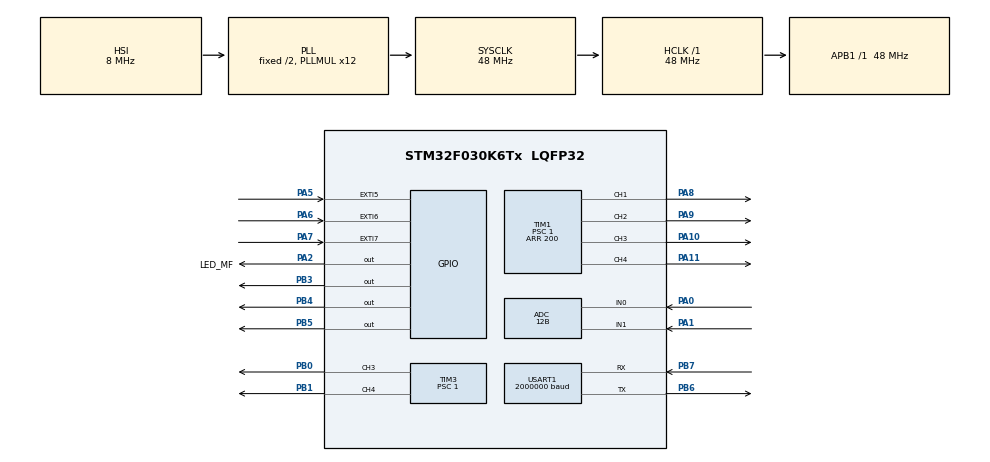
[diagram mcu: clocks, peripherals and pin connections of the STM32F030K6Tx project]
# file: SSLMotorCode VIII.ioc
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ADC.ClockPrescaler=ADC_CLOCK_ASYNC_DIV1
ADC.ContinuousConvMode=DISABLE
ADC.DMAContinuousRequests=DISABLE
ADC.DataAlign=ADC_DATAALIGN_RIGHT
ADC.DiscontinuousConvMode=DISABLE
ADC.EOCSelection=ADC_EOC_SINGLE_CONV
ADC.EnableAnalogWatchDog=false
ADC.ExternalTrigConv=ADC_SOFTWARE_START
ADC.ExternalTrigConvEdge=ADC_EXTERNALTRIGCONVEDGE_NONE
ADC.LowPowerAutoPowerOff=DISABLE
ADC.LowPowerAutoWait=DISABLE
ADC.Overrun=ADC_OVR_DATA_PRESERVED
ADC.Resolution=ADC_RESOLUTION_12B
ADC.SamplingTime=ADC_SAMPLETIME_1CYCLE_5
ADC.ScanConvMode=ADC_SCAN_DIRECTION_FORWARD
Mcu.Family=STM32F0
Mcu.Name=STM32F030K6Tx
Mcu.Package=LQFP32
NVIC.EXTI4_15_IRQn=true\:1\:0\:true\:false\:true\:true
NVIC.TIM14_IRQn=true\:2\:0\:true\:false\:true\:true
NVIC.TIM16_IRQn=true\:2\:0\:true\:false\:true\:true
NVIC.TIM17_IRQn=true\:2\:0\:true\:false\:true\:true
NVIC.USART1_IRQn=true\:3\:0\:true\:false\:true\:true
PA0.Mode=IN0
PA0.Signal=ADC_IN0
PA1.Mode=IN1
PA1.Signal=ADC_IN1
PA10.Signal=S_TIM1_CH3
PA11.Signal=S_TIM1_CH4
PA13.Mode=Serial_Wire
PA13.Signal=SYS_SWDIO
PA14.Mode=Serial_Wire
PA14.Signal=SYS_SWCLK
PA2.GPIO_Label=LED_MF
PA2.Signal=GPIO_Output
PA5.GPIO_ModeDefaultEXTI=GPIO_MODE_IT_RISING_FALLING
PA5.GPIO_PuPd=GPIO_PULLDOWN
PA5.Signal=GPXTI5
PA6.GPIO_ModeDefaultEXTI=GPIO_MODE_IT_RISING_FALLING
PA6.GPIO_PuPd=GPIO_PULLDOWN
PA6.Signal=GPXTI6
PA7.GPIO_ModeDefaultEXTI=GPIO_MODE_IT_RISING_FALLING
PA7.GPIO_PuPd=GPIO_PULLDOWN
PA7.Signal=GPXTI7
PA8.Signal=S_TIM1_CH1
PA9.Signal=S_TIM1_CH2
PB0.Signal=S_TIM3_CH3
PB1.Signal=S_TIM3_CH4
PB3.Signal=GPIO_Output
PB4.Signal=GPIO_Output
PB5.Signal=GPIO_Output
PB6.Mode=Asynchronous
PB6.Signal=USART1_TX
PB7.Mode=Asynchronous
PB7.Signal=USART1_RX
ProjectManager.HeapSize=0x400
ProjectManager.StackSize=0x800
ProjectManager.TargetToolchain=MDK-ARM V5
RCC.AHBFreq_Value=48000000
RCC.APB1Freq_Value=48000000
RCC.APB1TimFreq_Value=48000000
RCC.HCLKFreq_Value=48000000
RCC.PLLMUL=RCC_PLL_MUL12
RCC.SYSCLKFreq_VALUE=48000000
RCC.SYSCLKSource=RCC_SYSCLKSOURCE_PLLCLK
SH.S_TIM1_CH1.0=TIM1_CH1,PWM Generation1 CH1
SH.S_TIM1_CH2.0=TIM1_CH2,PWM Generation2 CH2
SH.S_TIM1_CH3.0=TIM1_CH3,PWM Generation3 CH3
SH.S_TIM1_CH4.0=TIM1_CH4,PWM Generation4 CH4
SH.S_TIM3_CH3.0=TIM3_CH3,PWM Generation3 CH3
SH.S_TIM3_CH4.0=TIM3_CH4,PWM Generation4 CH4
TIM1.Channel-PWM\ Generation1\ CH1=TIM_CHANNEL_1
TIM1.Channel-PWM\ Generation2\ CH2=TIM_CHANNEL_2
TIM1.Channel-PWM\ Generation3\ CH3=TIM_CHANNEL_3
TIM1.Channel-PWM\ Generation4\ CH4=TIM_CHANNEL_4
TIM1.Period=200
TIM1.Prescaler=1
TIM16.Period=65000
TIM16.Prescaler=96
TIM17.Period=65000
TIM17.Prescaler=32
TIM3.Channel-PWM\ Generation3\ CH3=TIM_CHANNEL_3
TIM3.Channel-PWM\ Generation4\ CH4=TIM_CHANNEL_4
TIM3.Period=200
TIM3.Prescaler=1
USART1.BaudRate=2000000
USART1.Parity=PARITY_EVEN
USART1.VirtualMode-Asynchronous=VM_ASYNC
USART1.WordLength=WORDLENGTH_9B
VP_TIM14_VS_ClockSourceINT.Mode=Enable_Timer
VP_TIM16_VS_ClockSourceINT.Mode=Enable_Timer
VP_TIM17_VS_ClockSourceINT.Mode=Enable_Timer
VP_TIM1_VS_ClockSourceINT.Mode=Internal
VP_TIM3_VS_ClockSourceINT.Mode=Internal
board=SSLMotorCode VIII

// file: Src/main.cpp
/**
  ******************************************************************************
  * File Name          : main.c
  * Description        : Main program body
  ******************************************************************************
  ** This notice applies to any and all portions of this file
  * that are not between comment pairs USER CODE BEGIN and
  * USER CODE END. Other portions of this file, whether
  * inserted by the user or by software development tools
  * are owned by their respective copyright owners.
  *
  * COPYRIGHT(c) 2017 STMicroelectronics
  *
  * Redistribution and use in source and binary forms, with or without modification,
  * are permitted provided that the following conditions are met:
  *   1. Redistributions of source code must retain the above copyright notice,
  *      this list of conditions and the following disclaimer.
  *   2. Redistributions in binary form must reproduce the above copyright notice,
  *      this list of conditions and the following disclaimer in the documentation
  *      and/or other materials provided with the distribution.
  *   3. Neither the name of STMicroelectronics nor the names of its contributors
  *      may be used to endorse or promote products derived from this software
  *      without specific prior written permission.
  *
  * THIS SOFTWARE IS PROVIDED BY THE COPYRIGHT HOLDERS AND CONTRIBUTORS "AS IS"
  * AND ANY EXPRESS OR IMPLIED WARRANTIES, INCLUDING, BUT NOT LIMITED TO, THE
  * IMPLIED WARRANTIES OF MERCHANTABILITY AND FITNESS FOR A PARTICULAR PURPOSE ARE
  * DISCLAIMED. IN NO EVENT SHALL THE COPYRIGHT HOLDER OR CONTRIBUTORS BE LIABLE
  * FOR ANY DIRECT, INDIRECT, INCIDENTAL, SPECIAL, EXEMPLARY, OR CONSEQUENTIAL
  * DAMAGES (INCLUDING, BUT NOT LIMITED TO, PROCUREMENT OF SUBSTITUTE GOODS OR
  * SERVICES; LOSS OF USE, DATA, OR PROFITS; OR BUSINESS INTERRUPTION) HOWEVER
  * CAUSED AND ON ANY THEORY OF LIABILITY, WHETHER IN CONTRACT, STRICT LIABILITY,
  * OR TORT (INCLUDING NEGLIGENCE OR OTHERWISE) ARISING IN ANY WAY OUT OF THE USE
  * OF THIS SOFTWARE, EVEN IF ADVISED OF THE POSSIBILITY OF SUCH DAMAGE.
  *
  ******************************************************************************
  */

#include "main.h"
#include "stm32f0xx_hal.h"
#include "adc.h"
#include "tim.h"
#include "usart.h"
#include "gpio.h"

/* USER CODE BEGIN Includes */
#include "Motor.hpp"
#include "Network.hpp"
#include "Controller.hpp"
/* USER CODE END Includes */

/* USER CODE BEGIN PV */
/* Private variables ---------------------------------------------------------*/

/* USER CODE END PV */

void SystemClock_Config(void);

/* USER CODE BEGIN PFP */
/* Private function prototypes -----------------------------------------------*/
void HAL_UART_TxCpltCallback(UART_HandleTypeDef *huart)
{
	network.Transmit_Ended();
}
void HAL_UART_RxCpltCallback(UART_HandleTypeDef *huart)
{
	network.Set_RPM(motor.Get_MomentomRPM());
	network.Receive_Ended();
	controller.Set_RPM(network.Read_SRPM());
}
void HAL_GPIO_EXTI_Callback(uint16_t GPIO_Pin)
{
	motor.Hal_Changed();
}
void HAL_TIM_PeriodElapsedCallback(TIM_HandleTypeDef *htim)
{
	if (htim == &htim17)
		motor.Time_Passed(true);
	else if (htim == &htim16)
		motor.Time_Passed(false);
}
/* USER CODE END PFP */

int main(void)
{

  /* MCU Configuration----------------------------------------------------------*/

  /* Reset of all peripherals, Initializes the Flash interface and the Systick. */
  HAL_Init();

  /* Configure the system clock */
  SystemClock_Config();

  /* Initialize all configured peripherals */
  MX_GPIO_Init();
  MX_TIM1_Init();
  MX_TIM3_Init();
  MX_ADC_Init();
  MX_TIM14_Init();
  MX_TIM16_Init();
  MX_TIM17_Init();
  MX_USART1_UART_Init();

  /* USER CODE BEGIN 2 */
	motor.Init();
	network.Init();
	controller.Init();
  /* USER CODE END 2 */

  /* Infinite loop */
  /* USER CODE BEGIN WHILE */
  while (1)
  {
		motor.Calculate();
		controller.Set_MommentomRPM(motor.Get_MomentomRPM());
		motor.Set_PWM(controller.Get_PWM());
  /* USER CODE END WHILE */

  }

}

/** System Clock Configuration
*/
void SystemClock_Config(void)
{

  RCC_OscInitTypeDef RCC_OscInitStruct;
  RCC_ClkInitTypeDef RCC_ClkInitStruct;
  RCC_PeriphCLKInitTypeDef PeriphClkInit;

    /**Initializes the CPU, AHB and APB busses clocks
    */
  RCC_OscInitStruct.OscillatorType = RCC_OSCILLATORTYPE_HSI|RCC_OSCILLATORTYPE_HSI14;
  RCC_OscInitStruct.HSIState = RCC_HSI_ON;
  RCC_OscInitStruct.HSI14State = RCC_HSI14_ON;
  RCC_OscInitStruct.HSICalibrationValue = 16;
  RCC_OscInitStruct.HSI14CalibrationValue = 16;
  RCC_OscInitStruct.PLL.PLLState = RCC_PLL_ON;
  RCC_OscInitStruct.PLL.PLLSource = RCC_PLLSOURCE_HSI;
  RCC_OscInitStruct.PLL.PLLMUL = RCC_PLL_MUL12;
  RCC_OscInitStruct.PLL.PREDIV = RCC_PREDIV_DIV1;
  if (HAL_RCC_OscConfig(&RCC_OscInitStruct) != HAL_OK)
  {
    _Error_Handler(__FILE__, __LINE__);
  }

    /**Initializes the CPU, AHB and APB busses clocks
    */
  RCC_ClkInitStruct.ClockType = RCC_CLOCKTYPE_HCLK|RCC_CLOCKTYPE_SYSCLK
                              |RCC_CLOCKTYPE_PCLK1;
  RCC_ClkInitStruct.SYSCLKSource = RCC_SYSCLKSOURCE_PLLCLK;
  RCC_ClkInitStruct.AHBCLKDivider = RCC_SYSCLK_DIV1;
  RCC_ClkInitStruct.APB1CLKDivider = RCC_HCLK_DIV1;

  if (HAL_RCC_ClockConfig(&RCC_ClkInitStruct, FLASH_LATENCY_1) != HAL_OK)
  {
    _Error_Handler(__FILE__, __LINE__);
  }

  PeriphClkInit.PeriphClockSelection = RCC_PERIPHCLK_USART1;
  PeriphClkInit.Usart1ClockSelection = RCC_USART1CLKSOURCE_PCLK1;
  if (HAL_RCCEx_PeriphCLKConfig(&PeriphClkInit) != HAL_OK)
  {
    _Error_Handler(__FILE__, __LINE__);
  }

    /**Configure the Systick interrupt time
    */
  HAL_SYSTICK_Config(HAL_RCC_GetHCLKFreq()/1000);

    /**Configure the Systick
    */
  HAL_SYSTICK_CLKSourceConfig(SYSTICK_CLKSOURCE_HCLK);

  /* SysTick_IRQn interrupt configuration */
  HAL_NVIC_SetPriority(SysTick_IRQn, 0, 0);
}

void _Error_Handler(char * file, int line)
{
  while(1)
  {
  }
}

/************************ (C) COPYRIGHT STMicroelectronics *****END OF FILE****/
